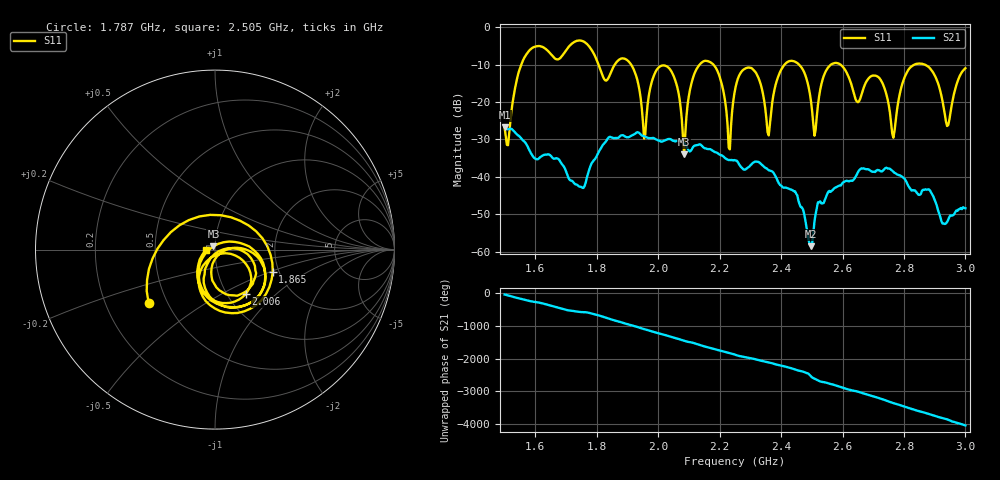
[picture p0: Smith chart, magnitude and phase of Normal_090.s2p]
# HZ S RI R 50
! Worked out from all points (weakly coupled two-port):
!   404 points, 1.5 GHz to 3 GHz, reference 50 ohm
!   highest |S21| = -26.75 dB at 1.5 GHz (marker M1); lowest = -58.6 dB at 2.498 GHz (marker M2)
!   lowest |S11| = -34.0 dB at 2.084 GHz (marker M3), VSWR 1.04, Z = 49.1 + j1.76 ohm
!   |S11| at or under -10 dB: 1.912 GHz to 2.135 GHz (222.7 MHz wide, 11 % of centre); 2.18 GHz to 2.411 GHz (231 MHz wide, 10.1 % of centre); 2.594 GHz to 2.833 GHz (239.4 MHz wide, 8.82 % of centre) (the widest 3 of 7)
!   S12 and S22 are empty: the file has one direction only
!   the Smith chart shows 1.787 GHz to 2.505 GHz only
!   S11 on the Smith chart (normalised r, x): 1.787 GHz: 0.39, -0.30; 1.865 GHz: 1.86, -0.52; 2.006 GHz: 1.22, -0.66; 2.505 GHz: 0.90, +0.00
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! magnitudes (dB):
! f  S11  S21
! 1.5 GHz  -26.8  -26.7
! 1.578 GHz  -6.4  -32.5
! 1.753 GHz  -3.6  -42.9
! 1.787 GHz  -6.5  -36.0
! 1.865 GHz  -9.3  -29.6
! 1.954 GHz  -29.7  -29.1
! 2.002 GHz  -10.7  -30.3
! 2.006 GHz  -10.4  -30.4
! 2.084 GHz  -34.0  -30.9
! 2.14 GHz  -9.5  -31.5
! 2.23 GHz  -32.2  -35.5
! 2.252 GHz  -16.0  -35.6
! 2.36 GHz  -28.9  -38.2
! 2.438 GHz  -9.0  -43.6
! 2.498 GHz  -19.8  -58.6
! 2.501 GHz  -22.5  -57.8
! 2.505 GHz  -25.9  -55.2
! 2.572 GHz  -9.6  -43.2
! 2.751 GHz  -20.8  -37.8
! 2.862 GHz  -9.8  -43.5
! 2.944 GHz  -26.1  -51.5
! 3 GHz  -10.9  -48.4
